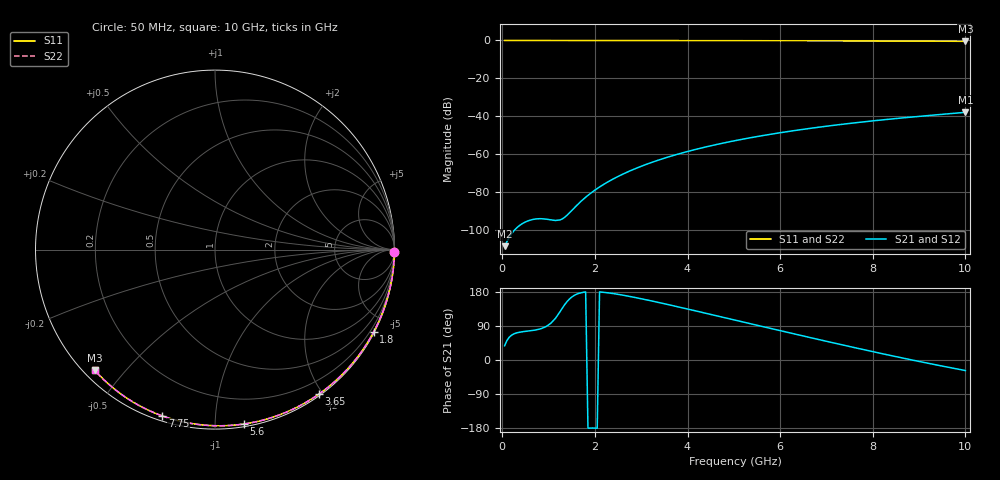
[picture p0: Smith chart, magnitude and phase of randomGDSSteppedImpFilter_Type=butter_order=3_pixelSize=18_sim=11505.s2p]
! freq	dB(S11)	phase(S11)	dB(S12)	phase(S12)
!  dB(S21)	phase(S21)	dB(S22)	phase(S22)
!S-par simulation data
#  GHz  S  DB  R 50
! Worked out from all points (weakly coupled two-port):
!   200 points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, 50 MHz to 10 GHz, reference 50 ohm
!   highest |S21| = -37.85 dB at 10 GHz (marker M1); lowest = -108.3 dB at 50 MHz (marker M2)
!   lowest |S11| = -0.5 dB at 10 GHz (marker M3), VSWR 38.09, Z = 1.54 - j20.8 ohm
!   |S11| at or under -10 dB: nowhere
!   |S22| runs from -0.5 to 0.0 dB; largest |S21 - S12| = 0
!   S11 on the Smith chart (normalised r, x): 50 MHz: open; 1.8 GHz: 0.04, -4.11; 3.65 GHz: 0.02, -1.95; 5.6 GHz: 0.02, -1.18; 7.75 GHz: 0.02, -0.73; 10 GHz: 0.03, -0.42
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0.05  -0.00 -0.8  -108.34 37.5  -108.34 37.5  -0.00 -0.8
0.45  -0.01 -6.9  -96.22 74.8  -96.22 74.8  -0.01 -6.9
0.9  -0.02 -13.8  -93.99 85.8  -93.99 85.8  -0.02 -13.8
1.75  -0.03 -26.6  -83.62 178.7  -83.62 178.7  -0.03 -26.6
1.8  -0.03 -27.3  -82.57 179.6  -82.57 179.6  -0.03 -27.3
1.9  -0.04 -28.8  -80.62 -179.6  -80.62 -179.6  -0.04 -28.8
1.95  -0.04 -29.6  -79.70 -179.5  -79.70 -179.5  -0.04 -29.6
2.1  -0.04 -31.8  -77.17 179.7  -77.17 179.7  -0.04 -31.8
2.25  -0.04 -34.0  -74.91 177.8  -74.91 177.8  -0.04 -34.0
2.55  -0.05 -38.4  -71.01 172.2  -71.01 172.2  -0.05 -38.4
2.95  -0.06 -44.2  -66.74 162.9  -66.74 162.9  -0.06 -44.2
3.4  -0.07 -50.7  -62.78 151.2  -62.78 151.2  -0.07 -50.6
3.65  -0.07 -54.2  -60.88 144.3  -60.88 144.3  -0.07 -54.2
4.3  -0.09 -63.2  -56.63 126.0  -56.63 126.0  -0.09 -63.2
5.05  -0.11 -73.3  -52.65 104.6  -52.65 104.6  -0.11 -73.3
5.6  -0.13 -80.6  -50.19 88.8  -50.19 88.8  -0.13 -80.6
6.15  -0.16 -87.7  -48.04 73.2  -48.04 73.2  -0.16 -87.7
6.7  -0.18 -94.6  -46.12 57.7  -46.12 57.7  -0.18 -94.6
7.75  -0.25 -107.6  -43.01 28.8  -43.01 28.8  -0.25 -107.6
8.35  -0.29 -114.9  -41.48 12.8  -41.48 12.8  -0.29 -114.8
9.15  -0.36 -124.5  -39.65 -7.6  -39.65 -7.6  -0.36 -124.5
10  -0.46 -134.9  -37.85 -27.8  -37.85 -27.8  -0.46 -134.8
